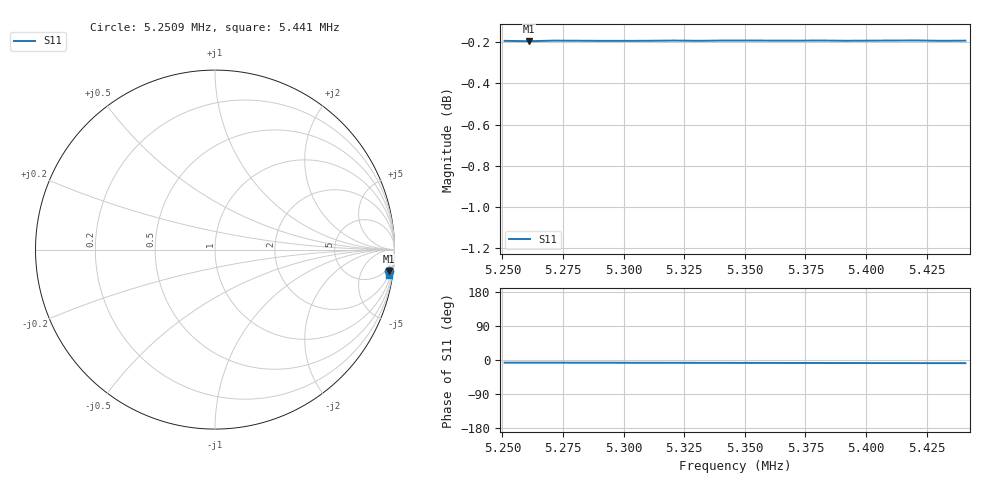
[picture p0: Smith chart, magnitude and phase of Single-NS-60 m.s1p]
# HZ S RI R 50
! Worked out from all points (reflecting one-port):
!   20 points, 5.2509 MHz to 5.441 MHz, reference 50 ohm
!   lowest |S11| = -0.2 dB at 5.2609 MHz (marker M1), VSWR 89.28, Z = 146 - j793 ohm
!   phase of S11 starts at -7 deg and turns -1 deg over the sweep
5250900  0.971 -0.1175
5260904  0.9706 -0.1188
5270908  0.9707 -0.1203
5280912  0.9705 -0.1215
5290916  0.9703 -0.1227
5300920  0.9701 -0.1241
5310924  0.97 -0.1254
5320928  0.97 -0.1267
5330932  0.9696 -0.128
5340936  0.9696 -0.1295
5350940  0.9695 -0.1306
5360944  0.9692 -0.1319
5370948  0.969 -0.1333
5380952  0.9689 -0.1346
5390956  0.9686 -0.1358
5400960  0.9685 -0.1372
5410964  0.9684 -0.1386
5420968  0.9682 -0.1398
5430972  0.9678 -0.141
5440976  0.9677 -0.1424
